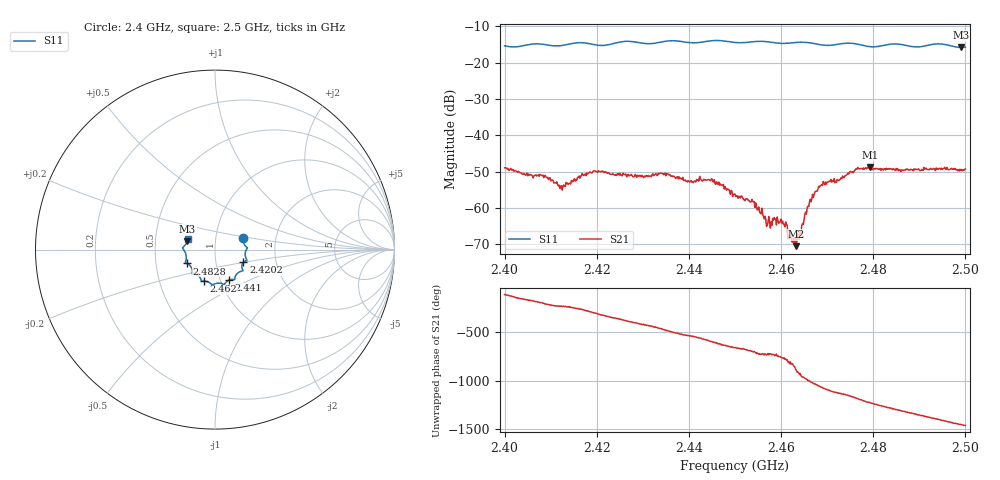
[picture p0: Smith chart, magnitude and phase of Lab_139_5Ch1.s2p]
# Hz S RI R 50
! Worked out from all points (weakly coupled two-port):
!   601 points, 2.4 GHz to 2.5 GHz, reference 50 ohm
!   highest |S21| = -48.70 dB at 2.4793 GHz (marker M1); lowest = -70.5 dB at 2.4633 GHz (marker M2)
!   lowest |S11| = -15.8 dB at 2.499 GHz (marker M3), VSWR 1.39, Z = 36.5 + j3.48 ohm
!   |S11| at or under -10 dB: start of sweep to end of sweep
!   S12 and S22 are empty: the file has one direction only
!   S11 on the Smith chart (normalised r, x): 2.4 GHz: 1.36, +0.18; 2.4202 GHz: 1.36, -0.20; 2.441 GHz: 1.10, -0.39; 2.462 GHz: 0.84, -0.30; 2.4828 GHz: 0.72, -0.11; 2.5 GHz: 0.73, +0.09
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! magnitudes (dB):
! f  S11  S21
! 2.4 GHz  -15.4  -49.0
! 2.4083 GHz  -15.0  -51.0
! 2.4122 GHz  -15.4  -54.0
! 2.4167 GHz  -14.5  -51.1
! 2.4202 GHz  -15.2  -50.2
! 2.4333 GHz  -14.5  -50.4
! 2.441 GHz  -14.6  -53.0
! 2.445 GHz  -14.0  -52.0
! 2.45 GHz  -14.5  -56.2
! 2.454 GHz  -14.3  -58.3
! 2.4572 GHz  -14.3  -63.9
! 2.4587 GHz  -14.5  -63.1
! 2.4608 GHz  -14.7  -65.2
! 2.462 GHz  -14.6  -67.4
! 2.4633 GHz  -14.5  -70.5
! 2.4667 GHz  -14.6  -57.5
! 2.4692 GHz  -15.2  -52.7
! 2.4793 GHz  -15.6  -48.7
! 2.4828 GHz  -15.1  -49.1
! 2.4833 GHz  -15.0  -49.3
! 2.499 GHz  -15.8  -49.7
! 2.5 GHz  -15.7  -49.3
